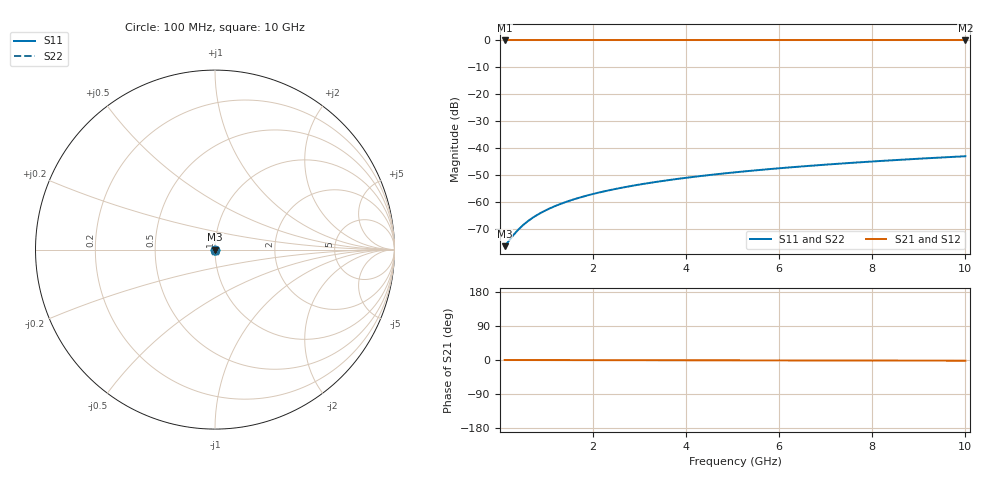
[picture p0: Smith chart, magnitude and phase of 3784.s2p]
# Hz S RI R 50.00
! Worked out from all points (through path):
!   100 points, 100 MHz to 10 GHz, reference 50 ohm
!   highest |S21| = 0.00 dB at 100 MHz (marker M1); lowest = 0.0 dB at 10 GHz (marker M2)
!   lowest |S11| = -76.2 dB at 100 MHz (marker M3), VSWR 1.00, Z = 50 - j0.00714 ohm
!   |S11| at or under -10 dB: start of sweep to end of sweep
!   |S22| runs from -76.2 to -42.9 dB; largest |S21 - S12| = 0
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1e8  0.000138 -7.14e-05  0.9999 -0.000313  0.9999 -0.000313  0.000138 -7.14e-05
3e8  0.000139 -0.000214  0.9999 -0.000938  0.9999 -0.000938  0.000139 -0.000214
4e8  0.000139 -0.000286  0.9999 -0.00125  0.9999 -0.00125  0.000139 -0.000286
5e8  0.000139 -0.000357  0.9999 -0.00156  0.9999 -0.00156  0.000139 -0.000357
6e8  0.000139 -0.000429  0.9999 -0.00188  0.9999 -0.00188  0.000139 -0.000429
7e8  0.000139 -0.0005  0.9999 -0.00219  0.9999 -0.00219  0.000139 -0.0005
8e8  0.000139 -0.000571  0.9999 -0.0025  0.9999 -0.0025  0.000139 -0.000571
1e9  0.000138 -0.000714  0.9998 -0.00313  0.9998 -0.00313  0.000138 -0.000714
1.2e9  0.000138 -0.000857  0.9998 -0.00375  0.9998 -0.00375  0.000138 -0.000857
1.5e9  0.000136 -0.00107  0.9998 -0.00469  0.9998 -0.00469  0.000136 -0.00107
1.8e9  0.000134 -0.00129  0.9998 -0.00563  0.9998 -0.00563  0.000134 -0.00129
2.1e9  0.000131 -0.0015  0.9998 -0.00657  0.9998 -0.00657  0.000131 -0.0015
2.5e9  0.000127 -0.00179  0.9998 -0.00782  0.9998 -0.00782  0.000127 -0.00179
2.9e9  0.000123 -0.00207  0.9998 -0.00907  0.9998 -0.00907  0.000123 -0.00207
3.4e9  0.000116 -0.00243  0.9998 -0.0106  0.9998 -0.0106  0.000116 -0.00243
4.2e9  0.000102 -0.003  0.9998 -0.0131  0.9998 -0.0131  0.000102 -0.003
5.1e9  8.31e-05 -0.00365  0.9997 -0.016  0.9997 -0.016  8.31e-05 -0.00365
5.9e9  6.33e-05 -0.00422  0.9997 -0.0185  0.9997 -0.0185  6.33e-05 -0.00422
6.7e9  4.05e-05 -0.0048  0.9996 -0.021  0.9996 -0.021  4.05e-05 -0.0048
7.5e9  1.49e-05 -0.00537  0.9995 -0.0235  0.9995 -0.0235  1.49e-05 -0.00537
8.4e9  -1.75e-05 -0.00602  0.9995 -0.0263  0.9995 -0.0263  -1.75e-05 -0.00602
1e10  -8.41e-05 -0.00718  0.9993 -0.0313  0.9993 -0.0313  -8.41e-05 -0.00718
